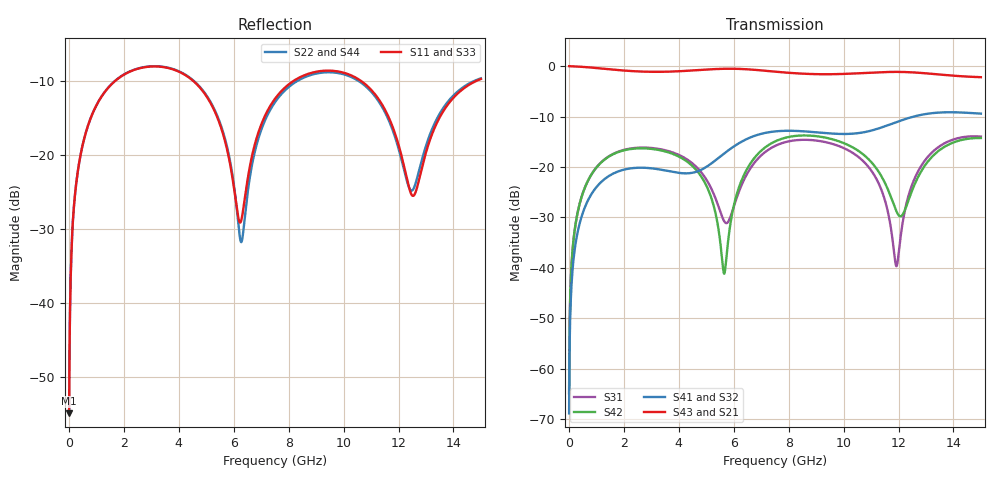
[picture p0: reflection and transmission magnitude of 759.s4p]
! Created with skrf 1.8.0 (http://scikit-rf.org).
# GHz S RI R 50.0
!freq ReS11 ImS11 ReS12 ImS12 ReS13 ImS13
! ReS14 ImS14
! ReS21 ImS21 ReS22 ImS22 ReS23 ImS23
! ReS24 ImS24
! ReS31 ImS31 ReS32 ImS32 ReS33 ImS33
! ReS34 ImS34
! ReS41 ImS41 ReS42 ImS42 ReS43 ImS43
! ReS44 ImS44
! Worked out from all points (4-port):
!   2499 points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, 5 MHz to 15 GHz, reference 50 ohm
!   strongest paths, dB at 5 MHz, 3.476 GHz, 7.19 GHz, 11.1 GHz, 15 GHz:
!     S43: 0.0, -1.1, -0.9, -1.3, -2.2
!     S21: 0.0, -1.1, -0.9, -1.3, -2.2
!     S41: -68.8, -20.7, -13.2, -12.6, -9.4
!     S32: -68.8, -20.7, -13.2, -12.7, -9.4
!     S42: -64.9, -16.9, -15.9, -19.6, -14.3
!     S31: -64.9, -16.6, -16.8, -21.4, -14.0
!   lowest |S11| = -54.9 dB at 5 MHz (marker M1), VSWR 1.00, Z = 50.1 + j0.11 ohm
!   |S11| at or under -10 dB: start of sweep to 1.696 GHz; 4.51 GHz to 8.198 GHz (3.688 GHz wide, 58 % of centre); 10.61 GHz to 14.86 GHz (4.246 GHz wide, 33.3 % of centre)
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0.005  0.00144 0.00109  0.9985 -0.0028  7.16e-05 0.000566  -6.95e-05 -0.000355
       0.9985 -0.0028  0.00144 0.00109  -6.95e-05 -0.000355  7.15e-05 0.000566
       7.16e-05 0.000566  -6.95e-05 -0.000355  0.00144 0.00109  0.9985 -0.0028
       -6.95e-05 -0.000355  7.15e-05 0.000566  0.9985 -0.0028  0.00144 0.00109
0.3126303  0.0193 0.0728  0.9738 -0.1752  0.00871 0.034  -0.00718 -0.0213
           0.9738 -0.1752  0.0193 0.0728  -0.00717 -0.0213  0.00848 0.0341
           0.00871 0.034  -0.00717 -0.0213  0.0193 0.0728  0.9738 -0.1752
           -0.00718 -0.0213  0.00848 0.0341  0.9738 -0.1752  0.0193 0.0728
1.569404  0.2337 0.19  0.6237 -0.6826  0.1147 0.0677  -0.083 -0.018
          0.6237 -0.6826  0.2349 0.1894  -0.0829 -0.018  0.1113 0.0715
          0.1147 0.0677  -0.0829 -0.018  0.2337 0.19  0.6237 -0.6826
          -0.083 -0.018  0.1113 0.0715  0.6237 -0.6826  0.2348 0.1894
6.046269  0.0369 -0.0385  -0.9272 -0.1581  -0.0252 0.0362  -0.024 0.1609
          -0.9272 -0.1581  0.0284 -0.0468  -0.025 0.1607  0.0131 0.0444
          -0.0252 0.0362  -0.025 0.1607  0.0365 -0.0363  -0.9274 -0.1577
          -0.024 0.1609  0.0131 0.0444  -0.9274 -0.1577  0.028 -0.0447
9.729054  0.3621 -0.0522  0.0213 0.8328  0.149 -0.0707  0.1999 -0.0747
          0.0213 0.8328  0.3546 -0.0413  0.1998 -0.0723  0.151 -0.1044
          0.149 -0.0707  0.1998 -0.0723  0.364 -0.0528  0.0197 0.8323
          0.1999 -0.0747  0.151 -0.1044  0.0197 0.8323  0.3557 -0.0392
11.92372  0.0811 -0.1017  0.7843 0.3911  -0.0104 -0.000389  0.1157 -0.2535
          0.7843 0.3911  0.083 -0.0911  0.1194 -0.2517  -0.0329 -0.0157
          -0.0104 -0.000389  0.1194 -0.2517  0.0798 -0.1034  0.7828 0.394
          0.1157 -0.2535  -0.0329 -0.0157  0.7828 0.394  0.0861 -0.0906
15  0.3114 0.0896  0.3857 -0.6735  0.1952 -0.0444  -0.3224 -0.1019
    0.3857 -0.6735  0.3168 0.0823  -0.3203 -0.1067  0.188 -0.0469
    0.1952 -0.0444  -0.3203 -0.1067  0.3098 0.0933  0.3905 -0.6714
    -0.3224 -0.1019  0.188 -0.0469  0.3905 -0.6714  0.3154 0.0818
